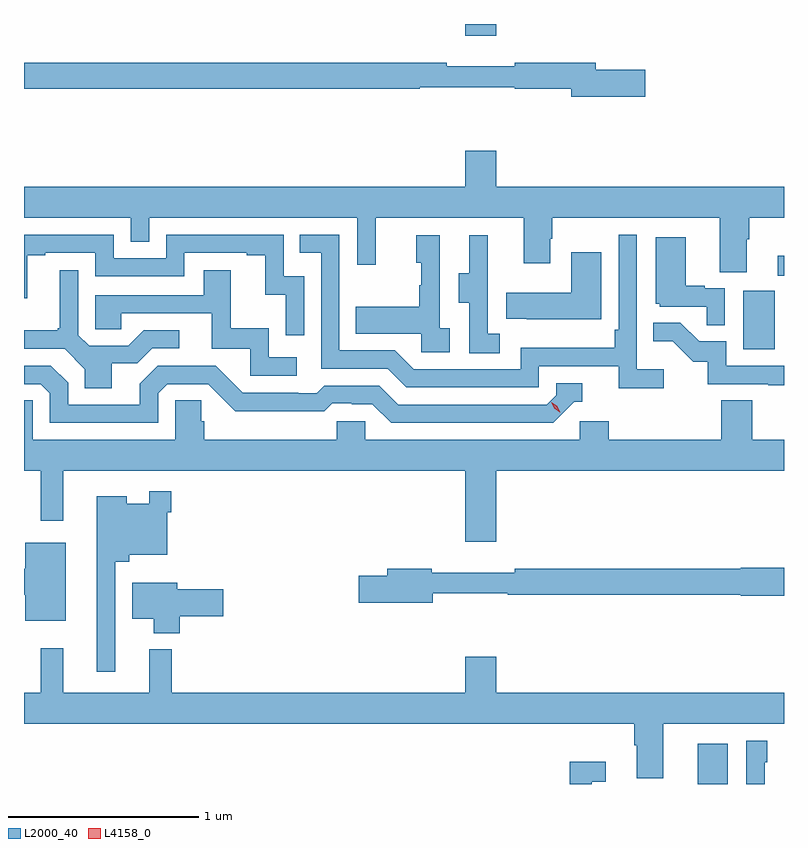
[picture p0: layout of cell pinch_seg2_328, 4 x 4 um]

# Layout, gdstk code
import gdstk
lib = gdstk.Library(unit=1e-6, precision=1e-09)
def R(c, l, rs):  # rectangles x0, y0, x1, y1
    for r in rs: c.add(gdstk.rectangle(r[:2], r[2:], *l))
def P(c, l, *ps):  # polygons
    for p in ps: c.add(gdstk.Polygon(p, *l))
L2000_40 = (2000, 40)
L4158_0 = (4158, 0)

pinch_seg2_328 = lib.new_cell('pinch_seg2_328')
R(pinch_seg2_328, L2000_40, [(969.428,637.996,969.586,638.209), (969.668,640.284,969.832,640.591), (969.849,640.671,969.882,640.777), (968.204,641.934,968.368,641.996)])
P(pinch_seg2_328, L2000_40, [(969.151,641.756),(968.89,641.756),(968.89,641.792),(968.464,641.792),(968.464,641.773),(968.108,641.773),(968.108,641.792),(965.882,641.792),(965.882,641.656),(967.966,641.656),(967.966,641.664),(968.466,641.664),(968.466,641.656),(968.762,641.656),(968.762,641.614),(969.151,641.614)],
  [(969.685,640.864),(969.698,640.864),(969.698,640.976),(969.882,640.976),(969.882,641.14),(968.368,641.14),(968.368,641.329),(968.204,641.329),(968.204,641.14),(965.882,641.14),(965.882,640.976),(966.444,640.976),(966.444,640.849),(966.54,640.849),(966.54,640.976),(967.635,640.976),(967.635,640.728),(967.733,640.728),(967.733,640.976),(968.513,640.976),(968.513,640.737),(968.653,640.737),(968.653,640.865),(968.661,640.865),(968.661,640.976),(969.545,640.976),(969.545,640.69),(969.685,640.69)],
  [(969.25,640.18),(969.108,640.18),(969.108,640.888),(969.012,640.888),(969.012,640.387),(968.992,640.387),(968.992,640.291),(968.496,640.291),(968.496,640.179),(967.932,640.179),(967.833,640.278),(967.542,640.278),(967.542,640.887),(967.333,640.887),(967.333,640.791),(967.446,640.791),(967.446,640.182),(967.796,640.182),(967.895,640.083),(968.592,640.083),(968.592,640.194),(969.011,640.194),(969.011,640.078),(969.25,640.078)],
  [(967.356,640.668),(967.248,640.668),(967.248,640.887),(966.63,640.887),(966.63,640.764),(966.354,640.764),(966.354,640.887),(965.882,640.887),(965.882,640.553),(965.899,640.553),(965.899,640.779),(965.995,640.779),(965.995,640.791),(966.258,640.791),(966.258,640.668),(966.726,640.668),(966.726,640.791),(967.055,640.791),(967.055,640.779),(967.151,640.779),(967.151,640.571),(967.26,640.571),(967.26,640.359),(967.356,640.359)],
  [(968.386,640.367),(968.322,640.367),(968.322,640.671),(968.324,640.671),(968.324,640.885),(968.225,640.885),(968.225,640.683),(968.171,640.683),(968.171,640.528),(968.226,640.528),(968.226,640.264),(968.386,640.264)],
  [(968.122,640.394),(968.07,640.394),(968.07,640.885),(967.946,640.885),(967.946,640.74),(967.972,640.74),(967.972,640.622),(967.962,640.622),(967.962,640.507),(967.627,640.507),(967.627,640.367),(967.974,640.367),(967.974,640.269),(968.122,640.269)],
  [(969.57,640.605),(969.464,640.605),(969.464,640.618),(969.364,640.618),(969.364,640.873),(969.206,640.873),(969.206,640.524),(969.228,640.524),(969.228,640.509),(969.475,640.509),(969.475,640.411),(969.57,640.411)],
  [(968.92,640.795),(968.762,640.795),(968.762,640.582),(968.419,640.582),(968.419,640.445),(968.527,640.445),(968.527,640.442),(968.92,640.442)],
  [(966.343,640.21),(966.478,640.21),(966.558,640.29),(966.7,640.29),(966.7,640.383),(966.512,640.383),(966.431,640.302),(966.225,640.302),(966.168,640.359),(966.168,640.699),(966.071,640.699),(966.071,640.396),(966.06,640.396),(966.06,640.384),(965.882,640.384),(965.882,640.287),(966.096,640.287),(966.203,640.18),(966.203,640.078),(966.343,640.078)],
  [(967.318,640.242),(967.17,640.242),(967.17,640.396),(966.971,640.396),(966.971,640.699),(966.827,640.699),(966.827,640.569),(966.258,640.569),(966.258,640.389),(966.395,640.389),(966.395,640.473),(966.869,640.473),(966.869,640.287),(967.074,640.287),(967.074,640.146),(967.318,640.146)],
  [(969.882,640.197),(969.579,640.197),(969.579,640.326),(969.435,640.326),(969.337,640.424),(969.193,640.424),(969.193,640.325),(969.297,640.325),(969.404,640.218),(969.481,640.218),(969.481,640.101),(969.799,640.101),(969.799,640.096),(969.882,640.096)],
  [(966.588,640.053),(966.636,640.101),(966.852,640.101),(966.994,639.959),(967.23,639.959),(967.23,639.957),(967.463,639.957),(967.505,639.999),(967.608,639.999),(967.608,639.996),(967.715,639.996),(967.814,639.897),(968.667,639.897),(968.778,640.008),(968.821,640.008),(968.821,640.104),(968.682,640.104),(968.682,640.041),(968.634,639.993),(967.851,639.993),(967.752,640.092),(967.463,640.092),(967.424,640.053),(967.325,640.053),(967.325,640.056),(967.032,640.056),(966.891,640.197),(966.585,640.197),(966.491,640.103),(966.491,639.993),(966.114,639.993),(966.114,640.107),(966.024,640.197),(965.882,640.197),(965.882,640.101),(965.97,640.101),(966.018,640.053),(966.018,639.897),(966.588,639.897)],
  [(968.368,639.644),(969.882,639.644),(969.882,639.808),(969.716,639.808),(969.716,640.016),(969.551,640.016),(969.551,639.808),(968.96,639.808),(968.96,639.906),(968.808,639.906),(968.808,639.808),(967.677,639.808),(967.677,639.906),(967.527,639.906),(967.527,639.808),(966.83,639.808),(966.83,639.906),(966.815,639.906),(966.815,640.016),(966.678,640.016),(966.678,639.808),(965.928,639.808),(965.928,640.016),(965.882,640.016),(965.882,639.644),(965.971,639.644),(965.971,639.381),(966.088,639.381),(966.088,639.644),(968.204,639.644),(968.204,639.27),(968.368,639.27)],
  [(966.363,639.167),(966.437,639.167),(966.437,639.203),(966.636,639.203),(966.636,639.425),(966.656,639.425),(966.656,639.538),(966.54,639.538),(966.54,639.472),(966.424,639.472),(966.424,639.511),(966.266,639.511),(966.266,638.586),(966.363,638.586)],
  [(966.103,639.265),(965.888,639.265),(965.888,639.128),(965.882,639.128),(965.882,638.992),(965.888,638.992),(965.888,638.855),(966.103,638.855)],
  [(968.032,639),(968.428,639),(968.428,638.992),(969.654,638.992),(969.654,638.987),(969.882,638.987),(969.882,639.134),(969.654,639.134),(969.654,639.128),(968.464,639.128),(968.464,639.109),(968.028,639.109),(968.028,639.128),(967.793,639.128),(967.793,639.092),(967.644,639.092),(967.644,638.95),(968.032,638.95)],
  [(966.701,638.878),(966.931,638.878),(966.931,639.02),(966.688,639.02),(966.688,639.055),(966.452,639.055),(966.452,638.867),(966.566,638.867),(966.566,638.789),(966.701,638.789)],
  [(969.247,638.312),(969.882,638.312),(969.882,638.476),(968.368,638.476),(968.368,638.665),(968.204,638.665),(968.204,638.476),(966.659,638.476),(966.659,638.704),(966.542,638.704),(966.542,638.476),(966.089,638.476),(966.089,638.71),(965.971,638.71),(965.971,638.476),(965.882,638.476),(965.882,638.312),(969.095,638.312),(969.095,638.2),(969.107,638.2),(969.107,638.026),(969.247,638.026)],
  [(969.78,638.111),(969.793,638.111),(969.793,638.224),(969.684,638.224),(969.684,637.996),(969.78,637.996)],
  [(968.871,638.007),(968.944,638.007),(968.944,638.113),(968.755,638.113),(968.755,637.996),(968.871,637.996)])
P(pinch_seg2_328, L4158_0, [(968.703,639.953),(968.672,639.973),(968.656,640.006),(968.656,640.006),(968.656,640.006),(968.687,639.986),(968.704,639.953),(968.704,639.953)])

lib.write_gds('pinch_seg2_328.gds')
